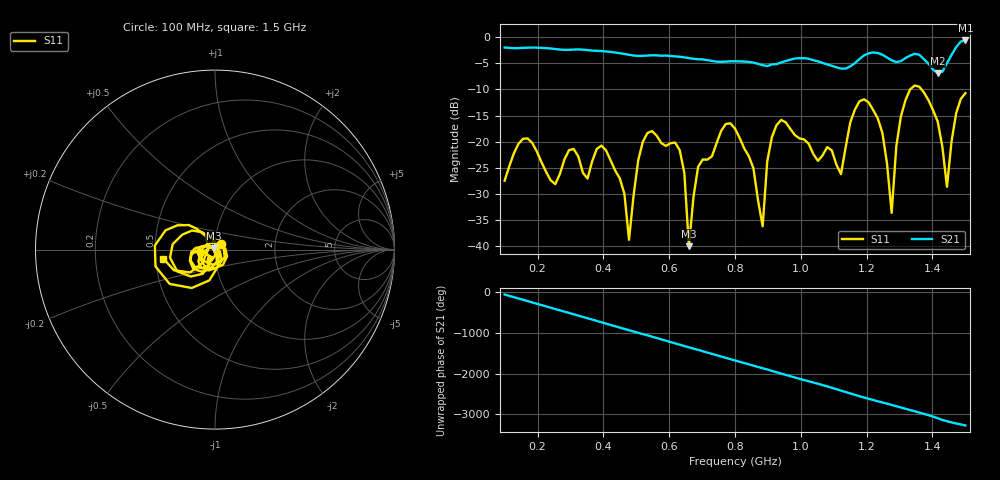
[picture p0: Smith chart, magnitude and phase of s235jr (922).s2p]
! NanoVNA-App
! Date: 2025-09-25 15:11:21
! Start: 100MHz Stop: 1,5GHz Points: 101
! S-Parameter data: F S11 S21 S12 S22
# Hz S RI R 50
!  Frequency  S11_Real  S11_Imag  S21_Real  S21_Imag  S12_Real  S12_Imag  S22_Real  S22_Imag
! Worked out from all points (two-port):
!   101 points, 100 MHz to 1.5 GHz, reference 50 ohm
!   highest |S21| = -0.62 dB at 1.5 GHz (marker M1); lowest = -6.9 dB at 1.416 GHz (marker M2)
!   |S21| within 3 dB of the highest: start of sweep to 606.2 MHz; 1.189 GHz to 1.255 GHz (65.26 MHz wide, 5.34 % of centre) (the widest 2 of 4)
!   lowest |S11| = -40.0 dB at 660 MHz (marker M3), VSWR 1.02, Z = 49.2 + j0.633 ohm
!   |S11| at or under -10 dB: start of sweep to 1.332 GHz; 1.367 GHz to end of sweep
!   S12 and S22 are empty: the file has one direction only
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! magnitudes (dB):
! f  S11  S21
! 100 MHz  -27.5  -2.0
! 156 MHz  -19.4  -2.0
! 338 MHz  -26.0  -2.4
! 408 MHz  -21.6  -2.7
! 478 MHz  -38.8  -3.4
! 520 MHz  -20.0  -3.6
! 576 MHz  -20.3  -3.5
! 632 MHz  -21.6  -3.7
! 660 MHz  -40.0  -4.0
! 688 MHz  -24.8  -4.2
! 800 MHz  -17.5  -4.6
! 884 MHz  -36.2  -5.3
! 926 MHz  -16.9  -5.2
! 1.038 GHz  -22.4  -4.4
! 1.122 GHz  -26.2  -6.0
! 1.206 GHz  -12.5  -3.1
! 1.276 GHz  -33.6  -4.4
! 1.29 GHz  -20.9  -4.8
! 1.332 GHz  -10.0  -3.5
! 1.416 GHz  -16.2  -6.9
! 1.444 GHz  -28.6  -5.0
! 1.5 GHz  -10.7  -0.6
